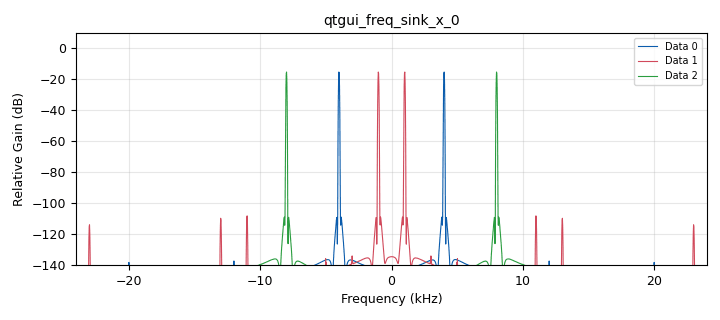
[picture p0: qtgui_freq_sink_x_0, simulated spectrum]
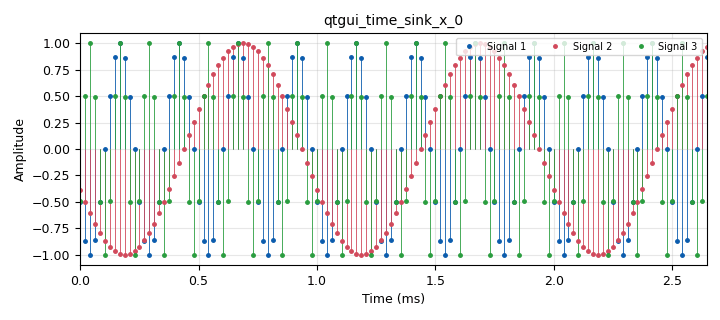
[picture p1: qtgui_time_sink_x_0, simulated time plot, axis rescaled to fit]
options:
  parameters:
    author: Sergio_Santos_Darwin_Sanchez_B1C_G3
    generate_options: qt_gui
    id: Lab1B_Punto4
    output_language: python
    title: Lab1_ParteB
  states: {}

blocks:
- name: Freq
  id: variable_qtgui_range
  parameters:
    orient: Qt.Horizontal
    start: '1000'
    step: '1000'
    stop: '40000'
    value: '4000'
  states: {}
- name: samp_rate
  id: variable
  parameters:
    value: '48000'
  states: {}
- name: analog_sig_source_x_0
  id: analog_sig_source_x
  parameters:
    amp: '1'
    freq: Freq
    offset: '0'
    phase: '0'
    samp_rate: samp_rate
    type: float
    waveform: analog.GR_COS_WAVE
  states: {}
- name: analog_sig_source_x_1
  id: analog_sig_source_x
  parameters:
    amp: '1'
    freq: Freq
    offset: '0'
    phase: '0'
    samp_rate: samp_rate
    type: float
    waveform: analog.GR_COS_WAVE
  states: {}
- name: analog_sig_source_x_2
  id: analog_sig_source_x
  parameters:
    amp: '1'
    freq: Freq
    offset: '0'
    phase: '0'
    samp_rate: samp_rate
    type: float
    waveform: analog.GR_COS_WAVE
  states: {}
- name: blocks_throttle_0
  id: blocks_throttle
  parameters:
    samples_per_second: samp_rate
    type: float
  states: {}
- name: qtgui_freq_sink_x_0
  id: qtgui_freq_sink_x
  parameters:
    bw: samp_rate
    fc: '0'
    fftsize: '2048'
    nconnections: '3'
    type: float
    wintype: firdes.WIN_BLACKMAN_hARRIS
  states: {}
- name: qtgui_time_sink_x_0
  id: qtgui_time_sink_x
  parameters:
    nconnections: '3'
    size: '128'
    srate: samp_rate
    stemplot: 'True'
    type: float
  states: {}
- name: rational_resampler_xxx_0
  id: rational_resampler_xxx
  parameters:
    decim: '1'
    interp: '1'
    taps: ''
    type: fff
  states: {}
- name: rational_resampler_xxx_1
  id: rational_resampler_xxx
  parameters:
    decim: '1'
    interp: '4'
    taps: ''
    type: fff
  states: {}
- name: rational_resampler_xxx_2
  id: rational_resampler_xxx
  parameters:
    decim: '2'
    interp: '1'
    taps: ''
    type: fff
  states: {}

connections:
- [analog_sig_source_x_0, '0', rational_resampler_xxx_0, '0']
- [analog_sig_source_x_1, '0', rational_resampler_xxx_1, '0']
- [analog_sig_source_x_2, '0', rational_resampler_xxx_2, '0']
- [blocks_throttle_0, '0', qtgui_freq_sink_x_0, '0']
- [blocks_throttle_0, '0', qtgui_time_sink_x_0, '0']
- [rational_resampler_xxx_0, '0', blocks_throttle_0, '0']
- [rational_resampler_xxx_1, '0', qtgui_freq_sink_x_0, '1']
- [rational_resampler_xxx_1, '0', qtgui_time_sink_x_0, '1']
- [rational_resampler_xxx_2, '0', qtgui_freq_sink_x_0, '2']
- [rational_resampler_xxx_2, '0', qtgui_time_sink_x_0, '2']

metadata:
  file_format: 1
